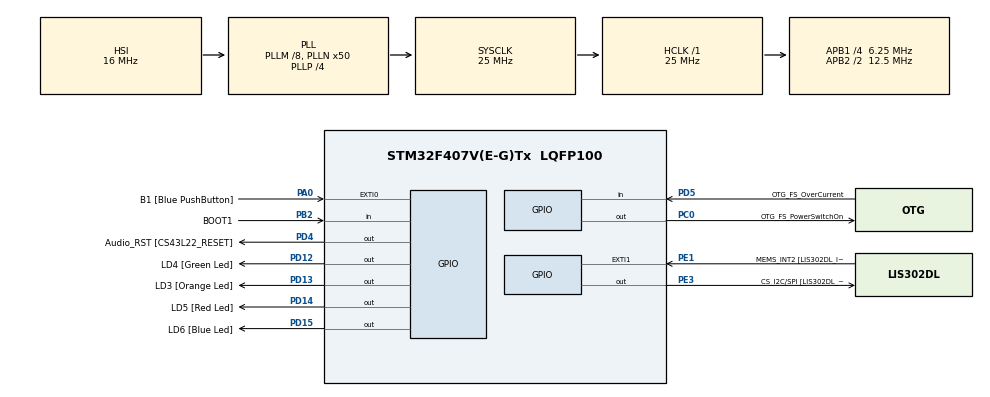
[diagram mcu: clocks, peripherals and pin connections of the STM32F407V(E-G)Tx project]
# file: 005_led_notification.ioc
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Mcu.Family=STM32F4
Mcu.Name=STM32F407V(E-G)Tx
Mcu.Package=LQFP100
NVIC.PriorityGroup=NVIC_PRIORITYGROUP_4
NVIC.TIM6_DAC_IRQn=true\:15\:0\:false\:false\:true\:false\:true\:true
NVIC.TimeBase=TIM6_DAC_IRQn
NVIC.TimeBaseIP=TIM6
PA0-WKUP.GPIO_Label=B1 [Blue PushButton]
PA0-WKUP.Signal=GPXTI0
PA10.GPIO_Label=OTG_FS_ID
PA10.GPIO_Mode=GPIO_MODE_AF_PP
PA10.GPIO_PuPd=GPIO_NOPULL
PA10.GPIO_Speed=GPIO_SPEED_FREQ_LOW
PA10.Signal=USB_OTG_FS_ID
PA11.GPIO_Label=OTG_FS_DM
PA11.GPIO_Mode=GPIO_MODE_AF_PP
PA11.GPIO_PuPd=GPIO_NOPULL
PA11.GPIO_Speed=GPIO_SPEED_FREQ_LOW
PA11.Signal=USB_OTG_FS_DM
PA12.GPIO_Label=OTG_FS_DP
PA12.GPIO_Mode=GPIO_MODE_AF_PP
PA12.GPIO_PuPd=GPIO_NOPULL
PA12.GPIO_Speed=GPIO_SPEED_FREQ_LOW
PA12.Signal=USB_OTG_FS_DP
PA13.GPIO_Label=SWDIO
PA13.Signal=SYS_JTMS-SWDIO
PA14.GPIO_Label=SWCLK
PA14.Signal=SYS_JTCK-SWCLK
PA4.GPIO_Label=I2S3_WS [CS43L22_LRCK]
PA4.GPIO_Mode=GPIO_MODE_AF_PP
PA4.GPIO_PuPd=GPIO_NOPULL
PA4.GPIO_Speed=GPIO_SPEED_FREQ_LOW
PA4.Signal=I2S3_WS
PA5.GPIO_Label=SPI1_SCK [LIS302DL_SCL/SPC]
PA5.GPIO_Mode=GPIO_MODE_AF_PP
PA5.GPIO_PuPd=GPIO_NOPULL
PA5.GPIO_Speed=GPIO_SPEED_FREQ_LOW
PA5.Signal=SPI1_SCK
PA6.GPIO_Label=SPI1_MISO [LIS302DL_SDO]
PA6.GPIO_Mode=GPIO_MODE_AF_PP
PA6.GPIO_PuPd=GPIO_NOPULL
PA6.GPIO_Speed=GPIO_SPEED_FREQ_LOW
PA6.Signal=SPI1_MISO
PA7.GPIO_Label=SPI1_MOSI [LIS302DL_SDA/SDI/SDO]
PA7.GPIO_Mode=GPIO_MODE_AF_PP
PA7.GPIO_PuPd=GPIO_NOPULL
PA7.GPIO_Speed=GPIO_SPEED_FREQ_LOW
PA7.Signal=SPI1_MOSI
PA9.GPIO_Label=VBUS_FS
PA9.GPIO_Mode=GPIO_MODE_INPUT
PA9.GPIO_PuPd=GPIO_NOPULL
PA9.Signal=USB_OTG_FS_VBUS
PB10.GPIO_Label=CLK_IN [MP45DT02_CLK]
PB10.GPIO_Mode=GPIO_MODE_AF_PP
PB10.GPIO_PuPd=GPIO_NOPULL
PB10.GPIO_Speed=GPIO_SPEED_FREQ_LOW
PB10.Signal=I2S2_CK
PB2.GPIO_Label=BOOT1
PB2.GPIO_Mode=GPIO_MODE_INPUT
PB2.GPIO_PuPd=GPIO_NOPULL
PB2.Signal=GPIO_Input
PB3.GPIO_Label=SWO
PB3.Signal=SYS_JTDO-SWO
PB6.GPIO_Label=Audio_SCL [CS43L22_SCL]
PB6.GPIO_Mode=GPIO_MODE_AF_OD
PB6.GPIO_PuPd=GPIO_NOPULL
PB6.GPIO_Speed=GPIO_SPEED_FREQ_LOW
PB6.Signal=I2C1_SCL
PB9.GPIO_Label=Audio_SDA [CS43L22_SDA]
PB9.GPIO_Mode=GPIO_MODE_AF_OD
PB9.GPIO_PuPd=GPIO_NOPULL
PB9.GPIO_Speed=GPIO_SPEED_FREQ_LOW
PB9.Signal=I2C1_SDA
PC0.GPIO_Label=OTG_FS_PowerSwitchOn
PC0.GPIO_PuPd=GPIO_NOPULL
PC0.GPIO_Speed=GPIO_SPEED_FREQ_LOW
PC0.PinState=GPIO_PIN_SET
PC0.Signal=GPIO_Output
PC10.GPIO_Label=I2S3_SCK [CS43L22_SCLK]
PC10.GPIO_Mode=GPIO_MODE_AF_PP
PC10.GPIO_PuPd=GPIO_NOPULL
PC10.GPIO_Speed=GPIO_SPEED_FREQ_LOW
PC10.Signal=I2S3_CK
PC12.GPIO_Label=I2S3_SD [CS43L22_SDIN]
PC12.GPIO_Mode=GPIO_MODE_AF_PP
PC12.GPIO_PuPd=GPIO_NOPULL
PC12.GPIO_Speed=GPIO_SPEED_FREQ_LOW
PC12.Signal=I2S3_SD
PC14-OSC32_IN.GPIO_Label=PC14-OSC32_IN
PC14-OSC32_IN.Signal=RCC_OSC32_IN
PC15-OSC32_OUT.GPIO_Label=PC15-OSC32_OUT
PC15-OSC32_OUT.Signal=RCC_OSC32_OUT
PC3.GPIO_Label=PDM_OUT [MP45DT02_DOUT]
PC3.GPIO_Mode=GPIO_MODE_AF_PP
PC3.GPIO_PuPd=GPIO_NOPULL
PC3.GPIO_Speed=GPIO_SPEED_FREQ_LOW
PC3.Signal=I2S2_SD
PC7.GPIO_Label=I2S3_MCK [CS43L22_MCLK]
PC7.GPIO_Mode=GPIO_MODE_AF_PP
PC7.GPIO_PuPd=GPIO_NOPULL
PC7.GPIO_Speed=GPIO_SPEED_FREQ_LOW
PC7.Signal=I2S3_MCK
PD12.GPIO_Label=LD4 [Green Led]
PD12.GPIO_PuPd=GPIO_NOPULL
PD12.GPIO_Speed=GPIO_SPEED_FREQ_LOW
PD12.Signal=GPIO_Output
PD13.GPIO_Label=LD3 [Orange Led]
PD13.GPIO_PuPd=GPIO_NOPULL
PD13.GPIO_Speed=GPIO_SPEED_FREQ_LOW
PD13.Signal=GPIO_Output
PD14.GPIO_Label=LD5 [Red Led]
PD14.GPIO_PuPd=GPIO_NOPULL
PD14.GPIO_Speed=GPIO_SPEED_FREQ_LOW
PD14.Signal=GPIO_Output
PD15.GPIO_Label=LD6 [Blue Led]
PD15.GPIO_PuPd=GPIO_NOPULL
PD15.GPIO_Speed=GPIO_SPEED_FREQ_LOW
PD15.Signal=GPIO_Output
PD4.GPIO_Label=Audio_RST [CS43L22_RESET]
PD4.GPIO_PuPd=GPIO_NOPULL
PD4.GPIO_Speed=GPIO_SPEED_FREQ_LOW
PD4.Signal=GPIO_Output
PD5.GPIO_Label=OTG_FS_OverCurrent
PD5.GPIO_Mode=GPIO_MODE_INPUT
PD5.GPIO_PuPd=GPIO_NOPULL
PD5.Signal=GPIO_Input
PE1.GPIO_Label=MEMS_INT2 [LIS302DL_INT2]
PE1.GPIO_ModeDefaultEXTI=GPIO_MODE_EVT_RISING
PE1.GPIO_PuPd=GPIO_NOPULL
PE1.Signal=GPXTI1
PE3.GPIO_Label=CS_I2C/SPI [LIS302DL_CS_I2C/SPI]
PE3.GPIO_PuPd=GPIO_NOPULL
PE3.GPIO_Speed=GPIO_SPEED_FREQ_LOW
PE3.Signal=GPIO_Output
PH0-OSC_IN.GPIO_Label=PH0-OSC_IN
PH0-OSC_IN.Signal=RCC_OSC_IN
PH1-OSC_OUT.GPIO_Label=PH1-OSC_OUT
PH1-OSC_OUT.Signal=RCC_OSC_OUT
ProjectManager.HeapSize=0x200
ProjectManager.StackSize=0x400
ProjectManager.TargetToolchain=STM32CubeIDE
RCC.48MHZClocksFreq_Value=14285714.285714285
RCC.AHBFreq_Value=25000000
RCC.APB1CLKDivider=RCC_HCLK_DIV4
RCC.APB1Freq_Value=6250000
RCC.APB1TimFreq_Value=12500000
RCC.APB2CLKDivider=RCC_HCLK_DIV2
RCC.APB2Freq_Value=12500000
RCC.APB2TimFreq_Value=25000000
RCC.CortexFreq_Value=25000000
RCC.HCLKFreq_Value=25000000
RCC.HSE_VALUE=8000000
RCC.HSI_VALUE=16000000
RCC.LSE_VALUE=32768
RCC.PLLM=8
RCC.PLLN=50
RCC.PLLP=RCC_PLLP_DIV4
RCC.PLLQ=7
RCC.SYSCLKFreq_VALUE=25000000
RCC.SYSCLKSource=RCC_SYSCLKSOURCE_PLLCLK
RCC.VCOOutputFreq_Value=100000000
VP_SYS_VS_tim6.Mode=TIM6
board=STM32F407G-DISC1

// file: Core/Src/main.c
/* USER CODE BEGIN Header */
/**
  ******************************************************************************
  * @file           : main.c
  * @brief          : Main program body
  ******************************************************************************
  * @attention
  *
  * Copyright (c) 2025 STMicroelectronics.
  * All rights reserved.
  *
  * This software is licensed under terms that can be found in the LICENSE file
  * in the root directory of this software component.
  * If no LICENSE file comes with this software, it is provided AS-IS.
  *
  ******************************************************************************
  */
/* USER CODE END Header */
#include "main.h"

/* USER CODE BEGIN Includes */
#include<stdio.h>
#include<stdint.h>
#include"FreeRTOS.h"
#include"Task.h"

/* USER CODE END Includes */

/* USER CODE BEGIN PD */
static void REDHANDLER(void*parameters);
static void BLUEHANDLER(void*parameters);
static void GREENHANDLER(void*parameters);
static void NOTIFHANDLER(void*parameters);
/* USER CODE END PD */

/* USER CODE BEGIN PM */
#define DWT_CTRL (*(volatile uint32_t*)0xE0001000)
TaskHandle_t RED_HANDLE;
  TaskHandle_t BLUE_HANDLE;

TaskHandle_t GREEN_HANDLE;

TaskHandle_t BUTTON_HANDLE;
TaskHandle_t volatile NEXT_HANDLER;
/* USER CODE END PM */

void SystemClock_Config(void);
static void MX_GPIO_Init(void);

int main(void)
{

  /* USER CODE BEGIN 1 */
  BaseType_t status;

  /* USER CODE END 1 */

  /* MCU Configuration--------------------------------------------------------*/

  /* Reset of all peripherals, Initializes the Flash interface and the Systick. */
  HAL_Init();

  /* Configure the system clock */
  SystemClock_Config();

  /* Initialize all configured peripherals */
  MX_GPIO_Init();
  /* USER CODE BEGIN 2 */
  DWT_CTRL |=(0<<1);
  SEGGER_SYSVIEW_Conf();
  SEGGER_SYSVIEW_Start();

  status=xTaskCreate(REDHANDLER, "RED_LED_TOGGLE",200, NULL, 3,&RED_HANDLE);
  configASSERT(status==pdPASS);
  NEXT_HANDLER=RED_HANDLE;
  status=xTaskCreate(BLUEHANDLER, "BLUE_LED_TOGGLE",200, NULL, 2,&BLUE_HANDLE);
    configASSERT(status==pdPASS);

  status=xTaskCreate(GREENHANDLER, "GREEN_LED_TOGGLE",200, NULL, 1,&GREEN_HANDLE);
      configASSERT(status==pdPASS);

  status=xTaskCreate(NOTIFHANDLER,"BUTTON",200, NULL,4,&BUTTON_HANDLE);
        configASSERT(status==pdPASS);
        vTaskStartScheduler();

  /* USER CODE END 2 */

  /* Infinite loop */
  while (1)
  {

  }
}

void SystemClock_Config(void)
{
  RCC_OscInitTypeDef RCC_OscInitStruct = {0};
  RCC_ClkInitTypeDef RCC_ClkInitStruct = {0};

  /** Configure the main internal regulator output voltage
  */
  __HAL_RCC_PWR_CLK_ENABLE();
  __HAL_PWR_VOLTAGESCALING_CONFIG(PWR_REGULATOR_VOLTAGE_SCALE1);

  /** Initializes the RCC Oscillators according to the specified parameters
  * in the RCC_OscInitTypeDef structure.
  */
  RCC_OscInitStruct.OscillatorType = RCC_OSCILLATORTYPE_HSI;
  RCC_OscInitStruct.HSIState = RCC_HSI_ON;
  RCC_OscInitStruct.HSICalibrationValue = RCC_HSICALIBRATION_DEFAULT;
  RCC_OscInitStruct.PLL.PLLState = RCC_PLL_ON;
  RCC_OscInitStruct.PLL.PLLSource = RCC_PLLSOURCE_HSI;
  RCC_OscInitStruct.PLL.PLLM = 8;
  RCC_OscInitStruct.PLL.PLLN = 50;
  RCC_OscInitStruct.PLL.PLLP = RCC_PLLP_DIV4;
  RCC_OscInitStruct.PLL.PLLQ = 7;
  if (HAL_RCC_OscConfig(&RCC_OscInitStruct) != HAL_OK)
  {
    Error_Handler();
  }

  /** Initializes the CPU, AHB and APB buses clocks
  */
  RCC_ClkInitStruct.ClockType = RCC_CLOCKTYPE_HCLK|RCC_CLOCKTYPE_SYSCLK
                              |RCC_CLOCKTYPE_PCLK1|RCC_CLOCKTYPE_PCLK2;
  RCC_ClkInitStruct.SYSCLKSource = RCC_SYSCLKSOURCE_PLLCLK;
  RCC_ClkInitStruct.AHBCLKDivider = RCC_SYSCLK_DIV1;
  RCC_ClkInitStruct.APB1CLKDivider = RCC_HCLK_DIV4;
  RCC_ClkInitStruct.APB2CLKDivider = RCC_HCLK_DIV2;

  if (HAL_RCC_ClockConfig(&RCC_ClkInitStruct, FLASH_LATENCY_0) != HAL_OK)
  {
    Error_Handler();
  }
}

static void MX_GPIO_Init(void)
{
  GPIO_InitTypeDef GPIO_InitStruct = {0};

  /* GPIO Ports Clock Enable */
  __HAL_RCC_GPIOE_CLK_ENABLE();
  __HAL_RCC_GPIOC_CLK_ENABLE();
  __HAL_RCC_GPIOH_CLK_ENABLE();
  __HAL_RCC_GPIOA_CLK_ENABLE();
  __HAL_RCC_GPIOB_CLK_ENABLE();
  __HAL_RCC_GPIOD_CLK_ENABLE();

  /*Configure GPIO pin Output Level */
  HAL_GPIO_WritePin(CS_I2C_SPI_GPIO_Port, CS_I2C_SPI_Pin, GPIO_PIN_RESET);

  /*Configure GPIO pin Output Level */
  HAL_GPIO_WritePin(OTG_FS_PowerSwitchOn_GPIO_Port, OTG_FS_PowerSwitchOn_Pin, GPIO_PIN_SET);

  /*Configure GPIO pin Output Level */
  HAL_GPIO_WritePin(GPIOD, LD4_Pin|LD3_Pin|LD5_Pin|LD6_Pin
                          |Audio_RST_Pin, GPIO_PIN_RESET);

  /*Configure GPIO pin : CS_I2C_SPI_Pin */
  GPIO_InitStruct.Pin = CS_I2C_SPI_Pin;
  GPIO_InitStruct.Mode = GPIO_MODE_OUTPUT_PP;
  GPIO_InitStruct.Pull = GPIO_NOPULL;
  GPIO_InitStruct.Speed = GPIO_SPEED_FREQ_LOW;
  HAL_GPIO_Init(CS_I2C_SPI_GPIO_Port, &GPIO_InitStruct);

  /*Configure GPIO pin : OTG_FS_PowerSwitchOn_Pin */
  GPIO_InitStruct.Pin = OTG_FS_PowerSwitchOn_Pin;
  GPIO_InitStruct.Mode = GPIO_MODE_OUTPUT_PP;
  GPIO_InitStruct.Pull = GPIO_NOPULL;
  GPIO_InitStruct.Speed = GPIO_SPEED_FREQ_LOW;
  HAL_GPIO_Init(OTG_FS_PowerSwitchOn_GPIO_Port, &GPIO_InitStruct);

  /*Configure GPIO pin : PDM_OUT_Pin */
  GPIO_InitStruct.Pin = PDM_OUT_Pin;
  GPIO_InitStruct.Mode = GPIO_MODE_AF_PP;
  GPIO_InitStruct.Pull = GPIO_NOPULL;
  GPIO_InitStruct.Speed = GPIO_SPEED_FREQ_LOW;
  GPIO_InitStruct.Alternate = GPIO_AF5_SPI2;
  HAL_GPIO_Init(PDM_OUT_GPIO_Port, &GPIO_InitStruct);

  /*Configure GPIO pin : B1_Pin */
  GPIO_InitStruct.Pin = B1_Pin;
  GPIO_InitStruct.Mode = GPIO_MODE_IT_RISING;
  GPIO_InitStruct.Pull = GPIO_NOPULL;
  HAL_GPIO_Init(B1_GPIO_Port, &GPIO_InitStruct);

  /*Configure GPIO pin : I2S3_WS_Pin */
  GPIO_InitStruct.Pin = I2S3_WS_Pin;
  GPIO_InitStruct.Mode = GPIO_MODE_AF_PP;
  GPIO_InitStruct.Pull = GPIO_NOPULL;
  GPIO_InitStruct.Speed = GPIO_SPEED_FREQ_LOW;
  GPIO_InitStruct.Alternate = GPIO_AF6_SPI3;
  HAL_GPIO_Init(I2S3_WS_GPIO_Port, &GPIO_InitStruct);

  /*Configure GPIO pins : SPI1_SCK_Pin SPI1_MISO_Pin SPI1_MOSI_Pin */
  GPIO_InitStruct.Pin = SPI1_SCK_Pin|SPI1_MISO_Pin|SPI1_MOSI_Pin;
  GPIO_InitStruct.Mode = GPIO_MODE_AF_PP;
  GPIO_InitStruct.Pull = GPIO_NOPULL;
  GPIO_InitStruct.Speed = GPIO_SPEED_FREQ_LOW;
  GPIO_InitStruct.Alternate = GPIO_AF5_SPI1;
  HAL_GPIO_Init(GPIOA, &GPIO_InitStruct);

  /*Configure GPIO pin : BOOT1_Pin */
  GPIO_InitStruct.Pin = BOOT1_Pin;
  GPIO_InitStruct.Mode = GPIO_MODE_INPUT;
  GPIO_InitStruct.Pull = GPIO_NOPULL;
  HAL_GPIO_Init(BOOT1_GPIO_Port, &GPIO_InitStruct);

  /*Configure GPIO pin : CLK_IN_Pin */
  GPIO_InitStruct.Pin = CLK_IN_Pin;
  GPIO_InitStruct.Mode = GPIO_MODE_AF_PP;
  GPIO_InitStruct.Pull = GPIO_NOPULL;
  GPIO_InitStruct.Speed = GPIO_SPEED_FREQ_LOW;
  GPIO_InitStruct.Alternate = GPIO_AF5_SPI2;
  HAL_GPIO_Init(CLK_IN_GPIO_Port, &GPIO_InitStruct);

  /*Configure GPIO pins : LD4_Pin LD3_Pin LD5_Pin LD6_Pin
                           Audio_RST_Pin */
  GPIO_InitStruct.Pin = LD4_Pin|LD3_Pin|LD5_Pin|LD6_Pin
                          |Audio_RST_Pin;
  GPIO_InitStruct.Mode = GPIO_MODE_OUTPUT_PP;
  GPIO_InitStruct.Pull = GPIO_NOPULL;
  GPIO_InitStruct.Speed = GPIO_SPEED_FREQ_LOW;
  HAL_GPIO_Init(GPIOD, &GPIO_InitStruct);

  /*Configure GPIO pins : I2S3_MCK_Pin I2S3_SCK_Pin I2S3_SD_Pin */
  GPIO_InitStruct.Pin = I2S3_MCK_Pin|I2S3_SCK_Pin|I2S3_SD_Pin;
  GPIO_InitStruct.Mode = GPIO_MODE_AF_PP;
  GPIO_InitStruct.Pull = GPIO_NOPULL;
  GPIO_InitStruct.Speed = GPIO_SPEED_FREQ_LOW;
  GPIO_InitStruct.Alternate = GPIO_AF6_SPI3;
  HAL_GPIO_Init(GPIOC, &GPIO_InitStruct);

  /*Configure GPIO pin : VBUS_FS_Pin */
  GPIO_InitStruct.Pin = VBUS_FS_Pin;
  GPIO_InitStruct.Mode = GPIO_MODE_INPUT;
  GPIO_InitStruct.Pull = GPIO_NOPULL;
  HAL_GPIO_Init(VBUS_FS_GPIO_Port, &GPIO_InitStruct);

  /*Configure GPIO pins : OTG_FS_ID_Pin OTG_FS_DM_Pin OTG_FS_DP_Pin */
  GPIO_InitStruct.Pin = OTG_FS_ID_Pin|OTG_FS_DM_Pin|OTG_FS_DP_Pin;
  GPIO_InitStruct.Mode = GPIO_MODE_AF_PP;
  GPIO_InitStruct.Pull = GPIO_NOPULL;
  GPIO_InitStruct.Speed = GPIO_SPEED_FREQ_LOW;
  GPIO_InitStruct.Alternate = GPIO_AF10_OTG_FS;
  HAL_GPIO_Init(GPIOA, &GPIO_InitStruct);

  /*Configure GPIO pin : OTG_FS_OverCurrent_Pin */
  GPIO_InitStruct.Pin = OTG_FS_OverCurrent_Pin;
  GPIO_InitStruct.Mode = GPIO_MODE_INPUT;
  GPIO_InitStruct.Pull = GPIO_NOPULL;
  HAL_GPIO_Init(OTG_FS_OverCurrent_GPIO_Port, &GPIO_InitStruct);

  /*Configure GPIO pins : Audio_SCL_Pin Audio_SDA_Pin */
  GPIO_InitStruct.Pin = Audio_SCL_Pin|Audio_SDA_Pin;
  GPIO_InitStruct.Mode = GPIO_MODE_AF_OD;
  GPIO_InitStruct.Pull = GPIO_NOPULL;
  GPIO_InitStruct.Speed = GPIO_SPEED_FREQ_LOW;
  GPIO_InitStruct.Alternate = GPIO_AF4_I2C1;
  HAL_GPIO_Init(GPIOB, &GPIO_InitStruct);

  /*Configure GPIO pin : MEMS_INT2_Pin */
  GPIO_InitStruct.Pin = MEMS_INT2_Pin;
  GPIO_InitStruct.Mode = GPIO_MODE_EVT_RISING;
  GPIO_InitStruct.Pull = GPIO_NOPULL;
  HAL_GPIO_Init(MEMS_INT2_GPIO_Port, &GPIO_InitStruct);

}

/* USER CODE BEGIN 4 */
static void REDHANDLER(void*parameters){
	BaseType_t status;
	while(1){
		SEGGER_SYSVIEW_PrintfTarget("toggling red led");
		HAL_GPIO_TogglePin(GPIOD, RED_LED_PIN);
		status=xTaskNotifyWait(0,0,NULL,pdMS_TO_TICKS(1000));
		if (status==pdTRUE){
			vTaskSuspendAll();
			NEXT_HANDLER=BLUE_HANDLE;
			xTaskResumeAll();
			HAL_GPIO_WritePin(GPIOD, RED_LED_PIN,GPIO_PIN_SET);
			SEGGER_SYSVIEW_PrintfTarget("deleting red led handler !!");
			//passing null as an argument in vtsakdelete if task is self deleting !!
			vTaskDelete(NULL);

		}

	}

}
static void BLUEHANDLER(void*parameters)
{BaseType_t status;
	while(1){
		SEGGER_SYSVIEW_PrintfTarget("toggling blue led");
				HAL_GPIO_TogglePin(GPIOD, BLUE_LED_PIN);
				status=xTaskNotifyWait(0,0,NULL,pdMS_TO_TICKS(400));
				if (status==pdTRUE){
					vTaskSuspendAll();
					NEXT_HANDLER=GREEN_HANDLE;
					xTaskResumeAll();
					HAL_GPIO_WritePin(GPIOD, BLUE_LED_PIN,GPIO_PIN_SET);
					SEGGER_SYSVIEW_PrintfTarget("deleting blue led handler !!");
					//passing null as an argument in vtsakdelete if task is self deleting !!
					vTaskDelete(NULL);

				}
	}

}
static void GREENHANDLER(void*parameters){
	BaseType_t status;
	while(1){
		SEGGER_SYSVIEW_PrintfTarget("toggling GREEN led");
				HAL_GPIO_TogglePin(GPIOD, GREEN_LED_PIN);
				status=xTaskNotifyWait(0,0,NULL,pdMS_TO_TICKS(200));
				if (status==pdTRUE){
					vTaskSuspendAll();
					NEXT_HANDLER=RED_HANDLE;
					xTaskResumeAll();
					HAL_GPIO_WritePin(GPIOD, GREEN_LED_PIN,GPIO_PIN_SET);
					SEGGER_SYSVIEW_PrintfTarget("deleting green led handler and button handler too !!");
					//passing null as an argument in vtsakdelete if task is self deleting !!
					vTaskDelete(BUTTON_HANDLE);
					vTaskDelete(NULL);

				}

	}

}
static void NOTIFHANDLER(void*parameters){
	uint8_t current_state=0;
	uint8_t previous_state=0;
	while(1){
		current_state=HAL_GPIO_ReadPin(GPIOA,GPIO_PIN_0);
		if(current_state){
			if(!previous_state){
			xTaskNotify(NEXT_HANDLER,0,eNoAction);

			}

		}
		previous_state=current_state;
		vTaskDelay(pdMS_TO_TICKS(10));

	}

}

/* USER CODE END 4 */

void HAL_TIM_PeriodElapsedCallback(TIM_HandleTypeDef *htim)
{
  if (htim->Instance == TIM6) {
    HAL_IncTick();
  }
}

void Error_Handler(void)
{
  __disable_irq();
  while (1)
  {
  }
}
